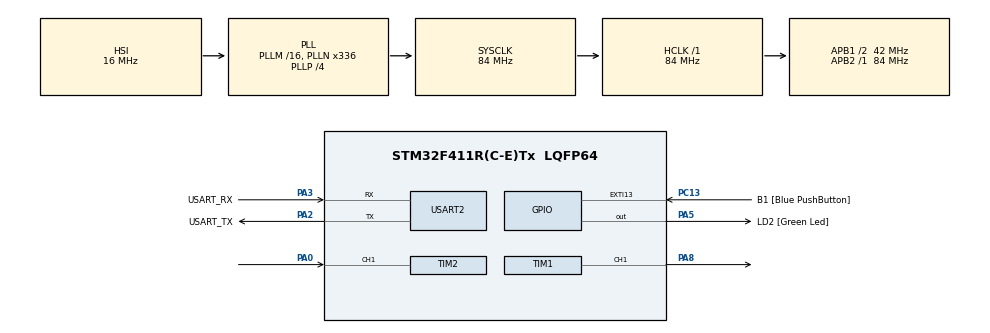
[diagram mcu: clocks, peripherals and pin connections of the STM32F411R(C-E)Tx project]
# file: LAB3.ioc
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Dma.Request0=TIM2_CH1
Dma.TIM2_CH1.0.Direction=DMA_PERIPH_TO_MEMORY
Dma.TIM2_CH1.0.FIFOMode=DMA_FIFOMODE_DISABLE
Dma.TIM2_CH1.0.Instance=DMA1_Stream5
Dma.TIM2_CH1.0.MemDataAlignment=DMA_MDATAALIGN_WORD
Dma.TIM2_CH1.0.MemInc=DMA_MINC_ENABLE
Dma.TIM2_CH1.0.Mode=DMA_CIRCULAR
Dma.TIM2_CH1.0.PeriphDataAlignment=DMA_PDATAALIGN_WORD
Dma.TIM2_CH1.0.PeriphInc=DMA_PINC_DISABLE
Dma.TIM2_CH1.0.Priority=DMA_PRIORITY_LOW
Mcu.Family=STM32F4
Mcu.Name=STM32F411R(C-E)Tx
Mcu.Package=LQFP64
NVIC.DMA1_Stream5_IRQn=true\:0\:0\:false\:false\:true\:false\:true\:true
NVIC.PriorityGroup=NVIC_PRIORITYGROUP_0
PA0-WKUP.Signal=S_TIM2_CH1_ETR
PA13.GPIO_Label=TMS
PA13.Mode=Serial_Wire
PA13.Signal=SYS_JTMS-SWDIO
PA14.GPIO_Label=TCK
PA14.Mode=Serial_Wire
PA14.Signal=SYS_JTCK-SWCLK
PA2.GPIO_Label=USART_TX
PA2.Mode=Asynchronous
PA2.Signal=USART2_TX
PA3.GPIO_Label=USART_RX
PA3.Mode=Asynchronous
PA3.Signal=USART2_RX
PA5.GPIO_Label=LD2 [Green Led]
PA5.Signal=GPIO_Output
PA8.Signal=S_TIM1_CH1
PB3.GPIO_Label=SWO
PB3.Signal=SYS_JTDO-SWO
PC13-ANTI_TAMP.GPIO_Label=B1 [Blue PushButton]
PC13-ANTI_TAMP.GPIO_ModeDefaultEXTI=GPIO_MODE_IT_FALLING
PC13-ANTI_TAMP.Signal=GPXTI13
PC14-OSC32_IN.Mode=LSE-External-Oscillator
PC14-OSC32_IN.Signal=RCC_OSC32_IN
PC15-OSC32_OUT.Mode=LSE-External-Oscillator
PC15-OSC32_OUT.Signal=RCC_OSC32_OUT
PH0\ -\ OSC_IN.Mode=HSE-External-Clock-Source
PH0\ -\ OSC_IN.Signal=RCC_OSC_IN
PH1\ -\ OSC_OUT.Mode=HSE-External-Clock-Source
PH1\ -\ OSC_OUT.Signal=RCC_OSC_OUT
ProjectManager.HeapSize=0x200
ProjectManager.StackSize=0x400
ProjectManager.TargetToolchain=STM32CubeIDE
RCC.48MHZClocksFreq_Value=84000000
RCC.AHBFreq_Value=84000000
RCC.APB1CLKDivider=RCC_HCLK_DIV2
RCC.APB1Freq_Value=42000000
RCC.APB1TimFreq_Value=84000000
RCC.APB2Freq_Value=84000000
RCC.APB2TimFreq_Value=84000000
RCC.CortexFreq_Value=84000000
RCC.FLatency-AdvancedSettings=FLASH_LATENCY_2
RCC.HCLKFreq_Value=84000000
RCC.HSE_VALUE=8000000
RCC.HSI_VALUE=16000000
RCC.PLLN=336
RCC.PLLP=RCC_PLLP_DIV4
RCC.SYSCLKFreq_VALUE=84000000
RCC.SYSCLKSource=RCC_SYSCLKSOURCE_PLLCLK
RCC.VCOOutputFreq_Value=336000000
SH.S_TIM1_CH1.0=TIM1_CH1,PWM Generation1 CH1
SH.S_TIM2_CH1_ETR.0=TIM2_CH1,Input_Capture1_from_TI1
TIM1.Channel-PWM\ Generation1\ CH1=TIM_CHANNEL_1
TIM1.Period=100
TIM1.Prescaler=83
TIM1.Pulse-PWM\ Generation1\ CH1=50
TIM2.Channel-Input_Capture1_from_TI1=TIM_CHANNEL_1
TIM2.Prescaler=83
USART2.VirtualMode=VM_ASYNC
VP_TIM1_VS_ClockSourceINT.Mode=Internal
VP_TIM2_VS_ClockSourceINT.Mode=Internal
board=NUCLEO-F411RE

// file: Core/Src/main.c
/* USER CODE BEGIN Header */
/**
  ******************************************************************************
  * @file           : main.c
  * @brief          : Main program body
  ******************************************************************************
  * @attention
  *
  * Copyright (c) 2023 STMicroelectronics.
  * All rights reserved.
  *
  * This software is licensed under terms that can be found in the LICENSE file
  * in the root directory of this software component.
  * If no LICENSE file comes with this software, it is provided AS-IS.
  *
  ******************************************************************************
  */
/* USER CODE END Header */
#include "main.h"
#define IC_BUFFER_SIZE 50

TIM_HandleTypeDef htim1;
TIM_HandleTypeDef htim2;
DMA_HandleTypeDef hdma_tim2_ch1;

UART_HandleTypeDef huart2;

/* USER CODE BEGIN PV */
uint32_t InputCaptureBuffer[IC_BUFFER_SIZE];
float MotorRPM = 0;
float error = 0;

float K = 3.5;
float Kp = 5;
float c = -10;

// User Parameters ====================================================
uint8_t MotorControlEnable = 0;

// If MotorControlEnable = 0
uint32_t MotorSetDuty = 50;

// If MotorControlEnable = 1
float MotorSetRPM = 20;
// ====================================================================

/* USER CODE END PV */

void SystemClock_Config(void);
static void MX_GPIO_Init(void);
static void MX_DMA_Init(void);
static void MX_USART2_UART_Init(void);
static void MX_TIM1_Init(void);
static void MX_TIM2_Init(void);
/* USER CODE BEGIN PFP */
float IC_Period_Calculate();
/* USER CODE END PFP */

int main(void)
{

  /* MCU Configuration--------------------------------------------------------*/

  /* Reset of all peripherals, Initializes the Flash interface and the Systick. */
  HAL_Init();

  /* Configure the system clock */
  SystemClock_Config();

  /* Initialize all configured peripherals */
  MX_GPIO_Init();
  MX_DMA_Init();
  MX_USART2_UART_Init();
  MX_TIM1_Init();
  MX_TIM2_Init();
  /* USER CODE BEGIN 2 */
  HAL_TIM_Base_Start(&htim1);
  HAL_TIM_PWM_Start(&htim1, TIM_CHANNEL_1);

  HAL_TIM_Base_Start(&htim2);
  HAL_TIM_IC_Start_DMA(&htim2, TIM_CHANNEL_1, InputCaptureBuffer, IC_BUFFER_SIZE);
  /* USER CODE END 2 */

  /* Infinite loop */
  while (1)
  {

    /* USER CODE BEGIN 3 */
	  static uint32_t timestamp = 0;
	  if (HAL_GetTick() >= timestamp)
	  {
		  timestamp = HAL_GetTick() + 500;
		  MotorRPM = 1000000.0 * 60 / (IC_Period_Calculate()*768.0);

		  if (MotorControlEnable == 0)
		  {
			  __HAL_TIM_SET_COMPARE(&htim1, TIM_CHANNEL_1, MotorSetDuty);
		  }
		  else if (MotorControlEnable == 1)
		  {
			  if (MotorSetRPM > 22)
			  {
				  MotorSetRPM = 22;
			  }

			  error = MotorSetRPM - MotorRPM;
			  __HAL_TIM_SET_COMPARE(&htim1, TIM_CHANNEL_1, K*MotorRPM + c + Kp*error);
		  }
	  }
  }
  /* USER CODE END 3 */
}

void SystemClock_Config(void)
{
  RCC_OscInitTypeDef RCC_OscInitStruct = {0};
  RCC_ClkInitTypeDef RCC_ClkInitStruct = {0};

  /** Configure the main internal regulator output voltage
  */
  __HAL_RCC_PWR_CLK_ENABLE();
  __HAL_PWR_VOLTAGESCALING_CONFIG(PWR_REGULATOR_VOLTAGE_SCALE1);

  /** Initializes the RCC Oscillators according to the specified parameters
  * in the RCC_OscInitTypeDef structure.
  */
  RCC_OscInitStruct.OscillatorType = RCC_OSCILLATORTYPE_HSI;
  RCC_OscInitStruct.HSIState = RCC_HSI_ON;
  RCC_OscInitStruct.HSICalibrationValue = RCC_HSICALIBRATION_DEFAULT;
  RCC_OscInitStruct.PLL.PLLState = RCC_PLL_ON;
  RCC_OscInitStruct.PLL.PLLSource = RCC_PLLSOURCE_HSI;
  RCC_OscInitStruct.PLL.PLLM = 16;
  RCC_OscInitStruct.PLL.PLLN = 336;
  RCC_OscInitStruct.PLL.PLLP = RCC_PLLP_DIV4;
  RCC_OscInitStruct.PLL.PLLQ = 4;
  if (HAL_RCC_OscConfig(&RCC_OscInitStruct) != HAL_OK)
  {
    Error_Handler();
  }

  /** Initializes the CPU, AHB and APB buses clocks
  */
  RCC_ClkInitStruct.ClockType = RCC_CLOCKTYPE_HCLK|RCC_CLOCKTYPE_SYSCLK
                              |RCC_CLOCKTYPE_PCLK1|RCC_CLOCKTYPE_PCLK2;
  RCC_ClkInitStruct.SYSCLKSource = RCC_SYSCLKSOURCE_PLLCLK;
  RCC_ClkInitStruct.AHBCLKDivider = RCC_SYSCLK_DIV1;
  RCC_ClkInitStruct.APB1CLKDivider = RCC_HCLK_DIV2;
  RCC_ClkInitStruct.APB2CLKDivider = RCC_HCLK_DIV1;

  if (HAL_RCC_ClockConfig(&RCC_ClkInitStruct, FLASH_LATENCY_2) != HAL_OK)
  {
    Error_Handler();
  }
}

static void MX_TIM1_Init(void)
{

  TIM_ClockConfigTypeDef sClockSourceConfig = {0};
  TIM_MasterConfigTypeDef sMasterConfig = {0};
  TIM_OC_InitTypeDef sConfigOC = {0};
  TIM_BreakDeadTimeConfigTypeDef sBreakDeadTimeConfig = {0};

  htim1.Instance = TIM1;
  htim1.Init.Prescaler = 83;
  htim1.Init.CounterMode = TIM_COUNTERMODE_UP;
  htim1.Init.Period = 100;
  htim1.Init.ClockDivision = TIM_CLOCKDIVISION_DIV1;
  htim1.Init.RepetitionCounter = 0;
  htim1.Init.AutoReloadPreload = TIM_AUTORELOAD_PRELOAD_DISABLE;
  if (HAL_TIM_Base_Init(&htim1) != HAL_OK)
  {
    Error_Handler();
  }
  sClockSourceConfig.ClockSource = TIM_CLOCKSOURCE_INTERNAL;
  if (HAL_TIM_ConfigClockSource(&htim1, &sClockSourceConfig) != HAL_OK)
  {
    Error_Handler();
  }
  if (HAL_TIM_PWM_Init(&htim1) != HAL_OK)
  {
    Error_Handler();
  }
  sMasterConfig.MasterOutputTrigger = TIM_TRGO_RESET;
  sMasterConfig.MasterSlaveMode = TIM_MASTERSLAVEMODE_DISABLE;
  if (HAL_TIMEx_MasterConfigSynchronization(&htim1, &sMasterConfig) != HAL_OK)
  {
    Error_Handler();
  }
  sConfigOC.OCMode = TIM_OCMODE_PWM1;
  sConfigOC.Pulse = 50;
  sConfigOC.OCPolarity = TIM_OCPOLARITY_HIGH;
  sConfigOC.OCNPolarity = TIM_OCNPOLARITY_HIGH;
  sConfigOC.OCFastMode = TIM_OCFAST_DISABLE;
  sConfigOC.OCIdleState = TIM_OCIDLESTATE_RESET;
  sConfigOC.OCNIdleState = TIM_OCNIDLESTATE_RESET;
  if (HAL_TIM_PWM_ConfigChannel(&htim1, &sConfigOC, TIM_CHANNEL_1) != HAL_OK)
  {
    Error_Handler();
  }
  sBreakDeadTimeConfig.OffStateRunMode = TIM_OSSR_DISABLE;
  sBreakDeadTimeConfig.OffStateIDLEMode = TIM_OSSI_DISABLE;
  sBreakDeadTimeConfig.LockLevel = TIM_LOCKLEVEL_OFF;
  sBreakDeadTimeConfig.DeadTime = 0;
  sBreakDeadTimeConfig.BreakState = TIM_BREAK_DISABLE;
  sBreakDeadTimeConfig.BreakPolarity = TIM_BREAKPOLARITY_HIGH;
  sBreakDeadTimeConfig.AutomaticOutput = TIM_AUTOMATICOUTPUT_DISABLE;
  if (HAL_TIMEx_ConfigBreakDeadTime(&htim1, &sBreakDeadTimeConfig) != HAL_OK)
  {
    Error_Handler();
  }
  HAL_TIM_MspPostInit(&htim1);

}

static void MX_TIM2_Init(void)
{

  TIM_ClockConfigTypeDef sClockSourceConfig = {0};
  TIM_MasterConfigTypeDef sMasterConfig = {0};
  TIM_IC_InitTypeDef sConfigIC = {0};

  htim2.Instance = TIM2;
  htim2.Init.Prescaler = 83;
  htim2.Init.CounterMode = TIM_COUNTERMODE_UP;
  htim2.Init.Period = 4294967295;
  htim2.Init.ClockDivision = TIM_CLOCKDIVISION_DIV1;
  htim2.Init.AutoReloadPreload = TIM_AUTORELOAD_PRELOAD_DISABLE;
  if (HAL_TIM_Base_Init(&htim2) != HAL_OK)
  {
    Error_Handler();
  }
  sClockSourceConfig.ClockSource = TIM_CLOCKSOURCE_INTERNAL;
  if (HAL_TIM_ConfigClockSource(&htim2, &sClockSourceConfig) != HAL_OK)
  {
    Error_Handler();
  }
  if (HAL_TIM_IC_Init(&htim2) != HAL_OK)
  {
    Error_Handler();
  }
  sMasterConfig.MasterOutputTrigger = TIM_TRGO_RESET;
  sMasterConfig.MasterSlaveMode = TIM_MASTERSLAVEMODE_DISABLE;
  if (HAL_TIMEx_MasterConfigSynchronization(&htim2, &sMasterConfig) != HAL_OK)
  {
    Error_Handler();
  }
  sConfigIC.ICPolarity = TIM_INPUTCHANNELPOLARITY_RISING;
  sConfigIC.ICSelection = TIM_ICSELECTION_DIRECTTI;
  sConfigIC.ICPrescaler = TIM_ICPSC_DIV1;
  sConfigIC.ICFilter = 0;
  if (HAL_TIM_IC_ConfigChannel(&htim2, &sConfigIC, TIM_CHANNEL_1) != HAL_OK)
  {
    Error_Handler();
  }

}

static void MX_USART2_UART_Init(void)
{

  huart2.Instance = USART2;
  huart2.Init.BaudRate = 115200;
  huart2.Init.WordLength = UART_WORDLENGTH_8B;
  huart2.Init.StopBits = UART_STOPBITS_1;
  huart2.Init.Parity = UART_PARITY_NONE;
  huart2.Init.Mode = UART_MODE_TX_RX;
  huart2.Init.HwFlowCtl = UART_HWCONTROL_NONE;
  huart2.Init.OverSampling = UART_OVERSAMPLING_16;
  if (HAL_UART_Init(&huart2) != HAL_OK)
  {
    Error_Handler();
  }

}

static void MX_DMA_Init(void)
{

  /* DMA controller clock enable */
  __HAL_RCC_DMA1_CLK_ENABLE();

  /* DMA interrupt init */
  /* DMA1_Stream5_IRQn interrupt configuration */
  HAL_NVIC_SetPriority(DMA1_Stream5_IRQn, 0, 0);
  HAL_NVIC_EnableIRQ(DMA1_Stream5_IRQn);

}

static void MX_GPIO_Init(void)
{
  GPIO_InitTypeDef GPIO_InitStruct = {0};

  /* GPIO Ports Clock Enable */
  __HAL_RCC_GPIOC_CLK_ENABLE();
  __HAL_RCC_GPIOH_CLK_ENABLE();
  __HAL_RCC_GPIOA_CLK_ENABLE();
  __HAL_RCC_GPIOB_CLK_ENABLE();

  /*Configure GPIO pin Output Level */
  HAL_GPIO_WritePin(LD2_GPIO_Port, LD2_Pin, GPIO_PIN_RESET);

  /*Configure GPIO pin : B1_Pin */
  GPIO_InitStruct.Pin = B1_Pin;
  GPIO_InitStruct.Mode = GPIO_MODE_IT_FALLING;
  GPIO_InitStruct.Pull = GPIO_NOPULL;
  HAL_GPIO_Init(B1_GPIO_Port, &GPIO_InitStruct);

  /*Configure GPIO pin : LD2_Pin */
  GPIO_InitStruct.Pin = LD2_Pin;
  GPIO_InitStruct.Mode = GPIO_MODE_OUTPUT_PP;
  GPIO_InitStruct.Pull = GPIO_NOPULL;
  GPIO_InitStruct.Speed = GPIO_SPEED_FREQ_LOW;
  HAL_GPIO_Init(LD2_GPIO_Port, &GPIO_InitStruct);

}

/* USER CODE BEGIN 4 */
float IC_Period_Calculate()
{
	uint32_t currentDMAPtr = IC_BUFFER_SIZE - __HAL_DMA_GET_COUNTER(htim2.hdma[1]);
	uint32_t lastValidDMAPtr = (currentDMAPtr - 1 + IC_BUFFER_SIZE) % IC_BUFFER_SIZE;
	uint32_t i = (currentDMAPtr - 11 + IC_BUFFER_SIZE) % IC_BUFFER_SIZE;

	int32_t sumdiff = 0;
	while(i != lastValidDMAPtr)
	{
		uint32_t firstCapture = InputCaptureBuffer[i];
		uint32_t nextCapture  = InputCaptureBuffer[(i+1) % IC_BUFFER_SIZE];

		sumdiff += nextCapture - firstCapture;

		i = (i+1) % IC_BUFFER_SIZE;
	}
	return sumdiff / 10.0;
}
/* USER CODE END 4 */

void Error_Handler(void)
{
  __disable_irq();
  while (1)
  {
  }
}
